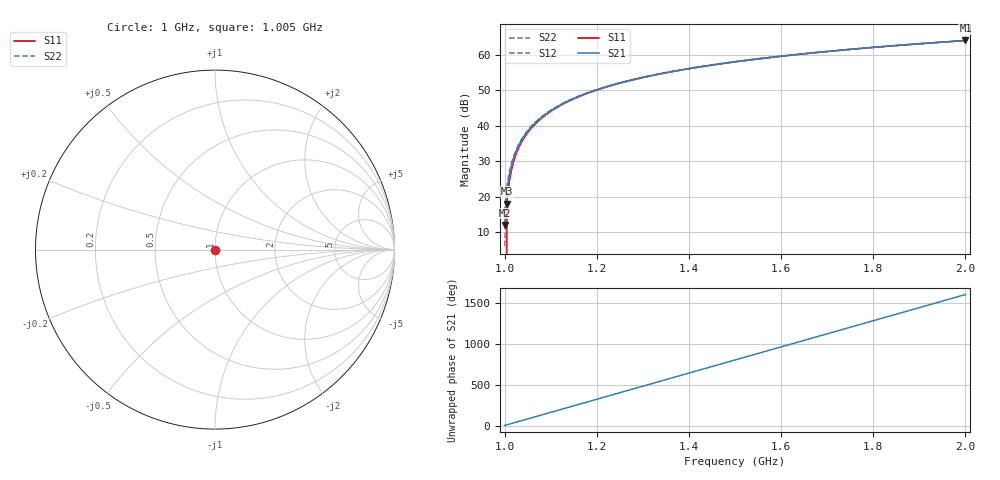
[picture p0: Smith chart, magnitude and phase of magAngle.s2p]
! RsaToolbox (C) 2014 Rohde & Schwarz America
! Number of points: 201
! Number of ports: 2
! Balanced ports?: No
# GHz S MA R 50
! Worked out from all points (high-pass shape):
!   201 points, 1 GHz to 2 GHz, reference 50 ohm
!   highest |S21| = 64.10 dB at 2 GHz (marker M1); lowest = 12.0 dB at 1 GHz (marker M2)
!   |S21| within 3 dB of the highest: 1.707 GHz to end of sweep
!   lowest |S11| = 18.1 dB at 1.005 GHz (marker M3)
!   |S11| at or under -10 dB: start of sweep to 1.004357 GHz
!   |S22| runs from 15.6 to 64.1 dB; largest |S21 - S12| = 56
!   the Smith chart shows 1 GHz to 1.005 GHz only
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1  0 1.0  4 5.0  2 3.0  6 7.0
1.005  8 9.0  12 13.0  10 11.0  14 15.0
1.17  272 273.0  276 277.0  274 275.0  278 279.0
1.24  384 385.0  388 389.0  386 387.0  390 391.0
1.29  464 465.0  468 469.0  466 467.0  470 471.0
1.335  536 537.0  540 541.0  538 539.0  542 543.0
1.405  648 649.0  652 653.0  650 651.0  654 655.0
1.455  728 729.0  732 733.0  730 731.0  734 735.0
1.5  800 801.0  804 805.0  802 803.0  806 807.0
1.53  848 849.0  852 853.0  850 851.0  854 855.0
1.57  912 913.0  916 917.0  914 915.0  918 919.0
1.62  992 993.0  996 997.0  994 995.0  998 999.0
1.67  1072 1073.0  1076 1077.0  1074 1075.0  1078 1079.0
1.71  1136 1137.0  1140 1141.0  1138 1139.0  1142 1143.0
1.74  1184 1185.0  1188 1189.0  1186 1187.0  1190 1191.0
1.79  1264 1265.0  1268 1269.0  1266 1267.0  1270 1271.0
1.835  1336 1337.0  1340 1341.0  1338 1339.0  1342 1343.0
1.865  1384 1385.0  1388 1389.0  1386 1387.0  1390 1391.0
1.905  1448 1449.0  1452 1453.0  1450 1451.0  1454 1455.0
1.93  1488 1489.0  1492 1493.0  1490 1491.0  1494 1495.0
1.955  1528 1529.0  1532 1533.0  1530 1531.0  1534 1535.0
2  1600 1601.0  1604 1605.0  1602 1603.0  1606 1607.0
